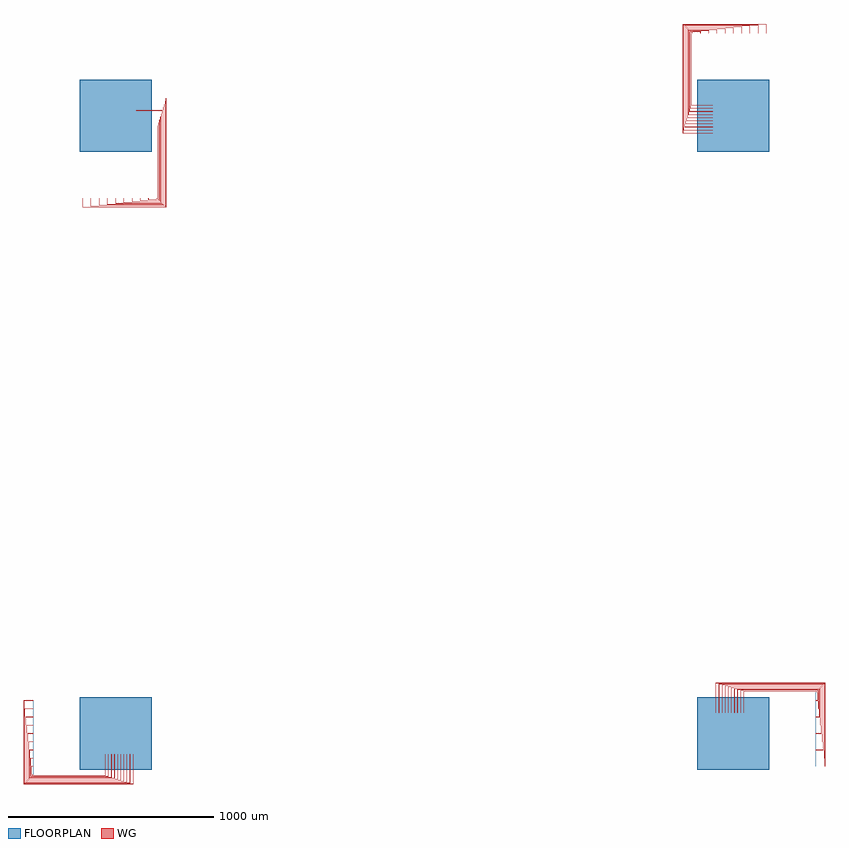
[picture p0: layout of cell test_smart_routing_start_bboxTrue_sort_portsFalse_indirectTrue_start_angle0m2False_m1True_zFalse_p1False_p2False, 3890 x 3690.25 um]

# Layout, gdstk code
import gdstk
lib = gdstk.Library(unit=1e-6, precision=1e-09)
def R(c, l, rs):  # rectangles x0, y0, x1, y1
    for r in rs: c.add(gdstk.rectangle(r[:2], r[2:], *l))
def P(c, l, *ps):  # polygons
    for p in ps: c.add(gdstk.Polygon(p, *l))
WG = (1, 0)
FLOORPLAN = (10, 0)

test_smart_routing_start = lib.new_cell('test_smart_routing_start_bboxTrue_sort_portsFalse_indirectTrue_start_angle0m2False_m1True_zFalse_p1False_p2False')
P(test_smart_routing_start, WG, [(-404.5,-204.75),(-404.5,-199.75),(-400,-199.75),(-400,-200.25),(-404,-200.25),(-404,-204.25),(-50.25,-204.25),(-50.25,-100),(-49.75,-100),(-49.75,-204.75)],
  [(-409,-209.25),(-409,-159.75),(-400,-159.75),(-400,-160.25),(-408.5,-160.25),(-408.5,-208.75),(-35.25,-208.75),(-35.25,-100),(-34.75,-100),(-34.75,-209.25)],
  [(-413.5,-213.75),(-413.5,-119.75),(-400,-119.75),(-400,-120.25),(-413,-120.25),(-413,-213.25),(-20.25,-213.25),(-20.25,-100),(-19.75,-100),(-19.75,-213.75)],
  [(-418,-218.25),(-418,-79.75),(-400,-79.75),(-400,-80.25),(-417.5,-80.25),(-417.5,-217.75),(-5.25,-217.75),(-5.25,-100),(-4.75,-100),(-4.75,-218.25)],
  [(-422.5,-222.75),(-422.5,-39.75),(-400,-39.75),(-400,-40.25),(-422,-40.25),(-422,-222.25),(9.75,-222.25),(9.75,-100),(10.25,-100),(10.25,-222.75)],
  [(-427,-227.25),(-427,0.25),(-400,0.25),(-400,-0.25),(-426.5,-0.25),(-426.5,-226.75),(24.75,-226.75),(24.75,-100),(25.25,-100),(25.25,-227.25)],
  [(-431.5,-231.75),(-431.5,40.25),(-400,40.25),(-400,39.75),(-431,39.75),(-431,-231.25),(39.75,-231.25),(39.75,-100),(40.25,-100),(40.25,-231.75)],
  [(-436,-236.25),(-436,80.25),(-400,80.25),(-400,79.75),(-435.5,79.75),(-435.5,-235.75),(54.75,-235.75),(54.75,-100),(55.25,-100),(55.25,-236.25)],
  [(-440.5,-240.75),(-440.5,120.25),(-400,120.25),(-400,119.75),(-440,119.75),(-440,-240.25),(69.75,-240.25),(69.75,-100),(70.25,-100),(70.25,-240.75)],
  [(-445,-245.25),(-445,160.25),(-400,160.25),(-400,159.75),(-444.5,159.75),(-444.5,-244.75),(84.75,-244.75),(84.75,-100),(85.25,-100),(85.25,-245.25)],
  [(199.75,2595.5),(199.75,2600),(200.25,2600),(200.25,2596),(204.25,2596),(204.25,2949.75),(100,2949.75),(100,2950.25),(204.75,2950.25),(204.75,2595.5)],
  [(159.75,2591),(159.75,2600),(160.25,2600),(160.25,2591.5),(208.75,2591.5),(208.75,2964.75),(100,2964.75),(100,2965.25),(209.25,2965.25),(209.25,2591)],
  [(119.75,2586.5),(119.75,2600),(120.25,2600),(120.25,2587),(213.25,2587),(213.25,2979.75),(100,2979.75),(100,2980.25),(213.75,2980.25),(213.75,2586.5)],
  [(79.75,2582),(79.75,2600),(80.25,2600),(80.25,2582.5),(217.75,2582.5),(217.75,2994.75),(100,2994.75),(100,2995.25),(218.25,2995.25),(218.25,2582)],
  [(39.75,2577.5),(39.75,2600),(40.25,2600),(40.25,2578),(222.25,2578),(222.25,3009.75),(100,3009.75),(100,3010.25),(222.75,3010.25),(222.75,2577.5)],
  [(-0.25,2573),(-0.25,2600),(0.25,2600),(0.25,2573.5),(226.75,2573.5),(226.75,3024.75),(100,3024.75),(100,3025.25),(227.25,3025.25),(227.25,2573)],
  [(-40.25,2568.5),(-40.25,2600),(-39.75,2600),(-39.75,2569),(231.25,2569),(231.25,3039.75),(100,3039.75),(100,3040.25),(231.75,3040.25),(231.75,2568.5)],
  [(-80.25,2564),(-80.25,2600),(-79.75,2600),(-79.75,2564.5),(235.75,2564.5),(235.75,3054.75),(100,3054.75),(100,3055.25),(236.25,3055.25),(236.25,2564)],
  [(-120.25,2559.5),(-120.25,2600),(-119.75,2600),(-119.75,2560),(240.25,2560),(240.25,3069.75),(100,3069.75),(100,3070.25),(240.75,3070.25),(240.75,2559.5)],
  [(-160.25,2555),(-160.25,2600),(-159.75,2600),(-159.75,2555.5),(244.75,2555.5),(244.75,3084.75),(100,3084.75),(100,3085.25),(245.25,3085.25),(245.25,2555)],
  [(3049.75,100),(3049.75,204.75),(3404.5,204.75),(3404.5,199.75),(3400,199.75),(3400,200.25),(3404,200.25),(3404,204.25),(3050.25,204.25),(3050.25,100)],
  [(3034.75,100),(3034.75,209.25),(3409,209.25),(3409,159.75),(3400,159.75),(3400,160.25),(3408.5,160.25),(3408.5,208.75),(3035.25,208.75),(3035.25,100)],
  [(3019.75,100),(3019.75,213.75),(3413.5,213.75),(3413.5,119.75),(3400,119.75),(3400,120.25),(3413,120.25),(3413,213.25),(3020.25,213.25),(3020.25,100)],
  [(3400,79.75),(3400,80.25),(3417.5,80.25),(3417.5,217.75),(3005.25,217.75),(3005.25,100),(3004.75,100),(3004.75,218.25),(3418,218.25),(3418,79.75)],
  [(3400,39.75),(3400,40.25),(3422,40.25),(3422,222.25),(2990.25,222.25),(2990.25,100),(2989.75,100),(2989.75,222.75),(3422.5,222.75),(3422.5,39.75)],
  [(3400,-0.25),(3400,0.25),(3426.5,0.25),(3426.5,226.75),(2975.25,226.75),(2975.25,100),(2974.75,100),(2974.75,227.25),(3427,227.25),(3427,-0.25)],
  [(3400,-40.25),(3400,-39.75),(3431,-39.75),(3431,231.25),(2960.25,231.25),(2960.25,100),(2959.75,100),(2959.75,231.75),(3431.5,231.75),(3431.5,-40.25)],
  [(3400,-80.25),(3400,-79.75),(3435.5,-79.75),(3435.5,235.75),(2945.25,235.75),(2945.25,100),(2944.75,100),(2944.75,236.25),(3436,236.25),(3436,-80.25)],
  [(3400,-120.25),(3400,-119.75),(3440,-119.75),(3440,240.25),(2930.25,240.25),(2930.25,100),(2929.75,100),(2929.75,240.75),(3440.5,240.75),(3440.5,-120.25)],
  [(3400,-160.25),(3400,-159.75),(3444.5,-159.75),(3444.5,244.75),(2915.25,244.75),(2915.25,100),(2914.75,100),(2914.75,245.25),(3445,245.25),(3445,-160.25)],
  [(2795.25,3049.75),(2795.25,3404.5),(2800.25,3404.5),(2800.25,3400),(2799.75,3400),(2799.75,3404),(2795.75,3404),(2795.75,3050.25),(2900,3050.25),(2900,3049.75)],
  [(2790.75,3034.75),(2790.75,3409),(2840.25,3409),(2840.25,3400),(2839.75,3400),(2839.75,3408.5),(2791.25,3408.5),(2791.25,3035.25),(2900,3035.25),(2900,3034.75)],
  [(2786.25,3019.75),(2786.25,3413.5),(2880.25,3413.5),(2880.25,3400),(2879.75,3400),(2879.75,3413),(2786.75,3413),(2786.75,3020.25),(2900,3020.25),(2900,3019.75)],
  [(2781.75,3004.75),(2781.75,3418),(2920.25,3418),(2920.25,3400),(2919.75,3400),(2919.75,3417.5),(2782.25,3417.5),(2782.25,3005.25),(2900,3005.25),(2900,3004.75)],
  [(2777.25,2989.75),(2777.25,3422.5),(2960.25,3422.5),(2960.25,3400),(2959.75,3400),(2959.75,3422),(2777.75,3422),(2777.75,2990.25),(2900,2990.25),(2900,2989.75)],
  [(2772.75,2974.75),(2772.75,3427),(3000.25,3427),(3000.25,3400),(2999.75,3400),(2999.75,3426.5),(2773.25,3426.5),(2773.25,2975.25),(2900,2975.25),(2900,2974.75)],
  [(2768.25,2959.75),(2768.25,3431.5),(3040.25,3431.5),(3040.25,3400),(3039.75,3400),(3039.75,3431),(2768.75,3431),(2768.75,2960.25),(2900,2960.25),(2900,2959.75)],
  [(2763.75,2944.75),(2763.75,3436),(3080.25,3436),(3080.25,3400),(3079.75,3400),(3079.75,3435.5),(2764.25,3435.5),(2764.25,2945.25),(2900,2945.25),(2900,2944.75)],
  [(2759.25,2929.75),(2759.25,3440.5),(3120.25,3440.5),(3120.25,3400),(3119.75,3400),(3119.75,3440),(2759.75,3440),(2759.75,2930.25),(2900,2930.25),(2900,2929.75)],
  [(2754.75,2914.75),(2754.75,3445),(3160.25,3445),(3160.25,3400),(3159.75,3400),(3159.75,3444.5),(2755.25,3444.5),(2755.25,2915.25),(2900,2915.25),(2900,2914.75)])
R(test_smart_routing_start, FLOORPLAN, [(-175,-175,175,175), (2825,-175,3175,175), (-175,2825,175,3175), (2825,2825,3175,3175)])
P(test_smart_routing_start, FLOORPLAN, [(-400,-200),(-400,160),(-400,160),(-400,-200)],
  [(-160,2600),(-160,2600),(200,2600),(200,2600)],
  [(3400,-160),(3400,200),(3400,200),(3400,-160)],
  [(2800,3400),(2800,3400),(3160,3400),(3160,3400)])

lib.write_gds('test_smart_routing_start_bboxTrue_sort_portsFalse_indirectTrue_start_angle0m2False_m1True_zFalse_p1False_p2False.gds')
